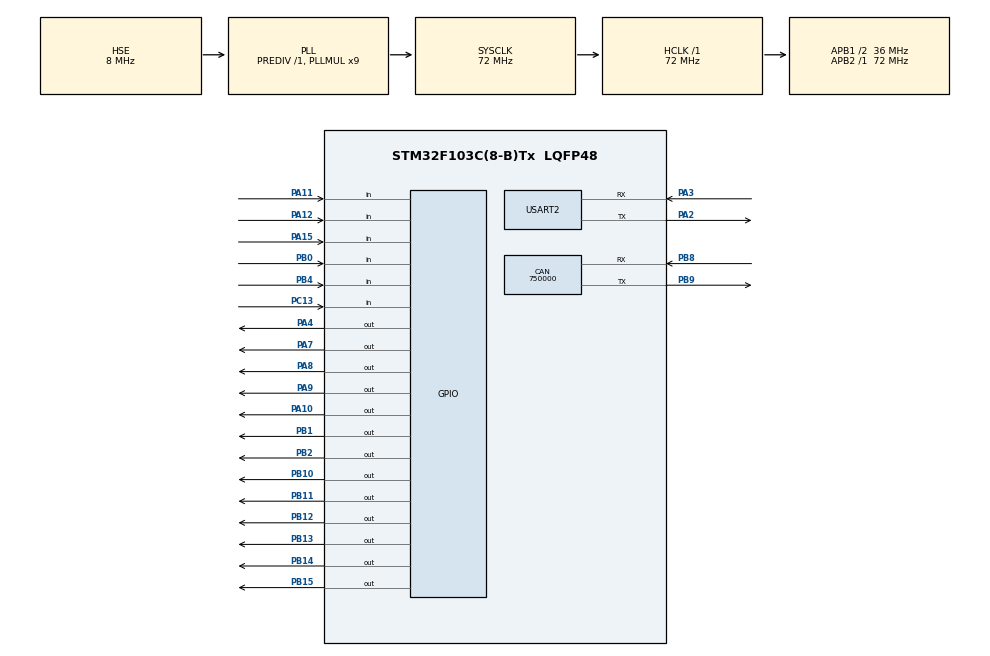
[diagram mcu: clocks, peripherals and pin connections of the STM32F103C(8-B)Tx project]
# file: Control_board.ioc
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CAN.CalculateBaudRate=750000
CAN.CalculateTimeBit=1333.33
CAN.CalculateTimeQuantum=444.44444444444446
CAN.Mode=CAN_MODE_SILENT_LOOPBACK
Dma.Request0=USART2_TX
Dma.Request1=USART2_RX
Dma.USART2_RX.1.Direction=DMA_PERIPH_TO_MEMORY
Dma.USART2_RX.1.Instance=DMA1_Channel6
Dma.USART2_RX.1.MemDataAlignment=DMA_MDATAALIGN_BYTE
Dma.USART2_RX.1.MemInc=DMA_MINC_ENABLE
Dma.USART2_RX.1.Mode=DMA_NORMAL
Dma.USART2_RX.1.PeriphDataAlignment=DMA_PDATAALIGN_BYTE
Dma.USART2_RX.1.PeriphInc=DMA_PINC_DISABLE
Dma.USART2_RX.1.Priority=DMA_PRIORITY_LOW
Dma.USART2_TX.0.Direction=DMA_MEMORY_TO_PERIPH
Dma.USART2_TX.0.Instance=DMA1_Channel7
Dma.USART2_TX.0.MemDataAlignment=DMA_MDATAALIGN_BYTE
Dma.USART2_TX.0.MemInc=DMA_MINC_ENABLE
Dma.USART2_TX.0.Mode=DMA_NORMAL
Dma.USART2_TX.0.PeriphDataAlignment=DMA_PDATAALIGN_BYTE
Dma.USART2_TX.0.PeriphInc=DMA_PINC_DISABLE
Dma.USART2_TX.0.Priority=DMA_PRIORITY_LOW
FREERTOS.BinarySemaphores01=myBinarySem01,Dynamic,NULL
FREERTOS.CountingSemaphores01=myCountingSem01,5,Dynamic,NULL
FREERTOS.INCLUDE_vTaskDelayUntil=1
FREERTOS.INCLUDE_xQueueGetMutexHolder=1
FREERTOS.INCLUDE_xSemaphoreGetMutexHolder=1
FREERTOS.Mutexes01=myMutex01,Dynamic,NULL
FREERTOS.Tasks01=defaultTask,0,128,StartDefaultTask,Default,NULL,Dynamic,NULL,NULL
FREERTOS.configTIMER_TASK_PRIORITY=3
FREERTOS.configTOTAL_HEAP_SIZE=8000
FREERTOS.configUSE_COUNTING_SEMAPHORES=1
FREERTOS.configUSE_RECURSIVE_MUTEXES=1
FREERTOS.configUSE_TIMERS=1
Mcu.Family=STM32F1
Mcu.Name=STM32F103C(8-B)Tx
Mcu.Package=LQFP48
NVIC.DMA1_Channel6_IRQn=true\:5\:0\:false\:false\:true\:true\:false\:true
NVIC.DMA1_Channel7_IRQn=true\:5\:0\:false\:false\:true\:true\:false\:true
NVIC.PriorityGroup=NVIC_PRIORITYGROUP_4
NVIC.TIM1_UP_IRQn=true\:0\:0\:false\:false\:true\:false\:false\:true
NVIC.TimeBase=TIM1_UP_IRQn
NVIC.TimeBaseIP=TIM1
NVIC.USART2_IRQn=true\:5\:0\:false\:false\:true\:true\:true\:true
PA10.Signal=GPIO_Output
PA11.Signal=GPIO_Input
PA12.Signal=GPIO_Input
PA13.Mode=Serial_Wire
PA13.Signal=SYS_JTMS-SWDIO
PA14.Mode=Serial_Wire
PA14.Signal=SYS_JTCK-SWCLK
PA15.Signal=GPIO_Input
PA2.Mode=Asynchronous
PA2.Signal=USART2_TX
PA3.Mode=Asynchronous
PA3.Signal=USART2_RX
PA4.PinState=GPIO_PIN_RESET
PA4.Signal=GPIO_Output
PA7.Signal=GPIO_Output
PA8.Signal=GPIO_Output
PA9.Signal=GPIO_Output
PB0.Signal=GPIO_Input
PB1.Signal=GPIO_Output
PB10.Signal=GPIO_Output
PB11.Signal=GPIO_Output
PB12.Signal=GPIO_Output
PB13.Signal=GPIO_Output
PB14.Signal=GPIO_Output
PB15.Signal=GPIO_Output
PB2.Signal=GPIO_Output
PB4.Signal=GPIO_Input
PB8.Mode=CAN_Activate
PB8.Signal=CAN_RX
PB9.Mode=CAN_Activate
PB9.Signal=CAN_TX
PC13-TAMPER-RTC.Signal=GPIO_Input
PC14-OSC32_IN.Mode=LSE-External-Oscillator
PC14-OSC32_IN.Signal=RCC_OSC32_IN
PC15-OSC32_OUT.Mode=LSE-External-Oscillator
PC15-OSC32_OUT.Signal=RCC_OSC32_OUT
PD0-OSC_IN.Mode=HSE-External-Oscillator
PD0-OSC_IN.Signal=RCC_OSC_IN
PD1-OSC_OUT.Mode=HSE-External-Oscillator
PD1-OSC_OUT.Signal=RCC_OSC_OUT
ProjectManager.HeapSize=0x200
ProjectManager.StackSize=0x400
ProjectManager.TargetToolchain=STM32CubeIDE
RCC.AHBFreq_Value=72000000
RCC.APB1CLKDivider=RCC_HCLK_DIV2
RCC.APB1Freq_Value=36000000
RCC.APB1TimFreq_Value=72000000
RCC.APB2Freq_Value=72000000
RCC.APB2TimFreq_Value=72000000
RCC.HCLKFreq_Value=72000000
RCC.PLLMUL=RCC_PLL_MUL9
RCC.PLLSourceVirtual=RCC_PLLSOURCE_HSE
RCC.RTCClockSelection=RCC_RTCCLKSOURCE_LSE
RCC.SYSCLKFreq_VALUE=72000000
RCC.SYSCLKSource=RCC_SYSCLKSOURCE_PLLCLK
RCC.USBFreq_Value=72000000
USART2.VirtualMode=VM_ASYNC
VP_FREERTOS_VS_CMSIS_V1.Mode=CMSIS_V1
VP_RTC_No_RTC_Output.Mode=RTC_OUT_NO
VP_RTC_VS_RTC_Activate.Mode=RTC_Enabled
VP_RTC_VS_RTC_Calendar.Mode=RTC_Calendar
VP_SYS_VS_tim1.Mode=TIM1
board=custom

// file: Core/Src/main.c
/* USER CODE BEGIN Header */
/**
  ******************************************************************************
  * @file           : main.c
  * @brief          : Main program body
  ******************************************************************************
  * @attention
  *
  * <h2><center>&copy; Copyright (c) 2021 STMicroelectronics.
  * All rights reserved.</center></h2>
  *
  * This software component is licensed by ST under Ultimate Liberty license
  * SLA0044, the "License"; You may not use this file except in compliance with
  * the License. You may obtain a copy of the License at:
  *                             www.st.com/SLA0044
  *
  ******************************************************************************
  */
/* USER CODE END Header */
#include "main.h"
#include "cmsis_os.h"

/* USER CODE BEGIN Includes */
#include "keyboard.h"
#include "display.h"
#include "wh0802.h"
#include "menu.h"
#include "wifi.h"

/* USER CODE END Includes */

CAN_HandleTypeDef hcan;

RTC_HandleTypeDef hrtc;

UART_HandleTypeDef huart2;
DMA_HandleTypeDef hdma_usart2_tx;
DMA_HandleTypeDef hdma_usart2_rx;

osThreadId defaultTaskHandle;
osMutexId myMutex01Handle;
osSemaphoreId myBinarySem01Handle;
osSemaphoreId myCountingSem01Handle;
/* USER CODE BEGIN PV */

osThreadId KeysHandle;
osThreadId DisplayHandle;
osThreadId TimeMenuHandle;
osThreadId TimeTaskHandle;
osThreadId DateTaskHandle;
osThreadId TimeDisplayTaskHandle;
osThreadId DateDisplayTaskHandle;
osThreadId WifiTaskHandle;

osTimerId DisplayTimerHandle;
osMessageQId pos_Queue;

extern osThreadId TimeMenuID;
extern uint8_t PositionState;

extern uint8_t read_buf[20];
uint8_t buf1[20];

/* USER CODE END PV */

void SystemClock_Config(void);
static void MX_GPIO_Init(void);
static void MX_DMA_Init(void);
static void MX_RTC_Init(void);
static void MX_USART2_UART_Init(void);
static void MX_CAN_Init(void);
void StartDefaultTask(void const * argument);

/* USER CODE BEGIN 0 */
void HAL_UART_TxCpltCallback(UART_HandleTypeDef *huart)
{
	//HAL_UART_Receive_DMA(&huart2, read_buf, 11);
	LED8_ON;
}
void HAL_UART_RxCpltCallback(UART_HandleTypeDef *huart)
{
	osThreadResume(WifiTaskHandle);
	//HAL_UART_Receive_DMA(&huart2, buf1, 1);

	LED8_ON;
}

/* USER CODE END 0 */

int main(void)
{

  /* MCU Configuration--------------------------------------------------------*/

  /* Reset of all peripherals, Initializes the Flash interface and the Systick. */
  HAL_Init();

  /* Configure the system clock */
  SystemClock_Config();

  /* Initialize all configured peripherals */
  MX_GPIO_Init();
  MX_DMA_Init();
  MX_RTC_Init();
  MX_USART2_UART_Init();
  MX_CAN_Init();
  /* USER CODE BEGIN 2 */

  wh0802_init(); //инициализируем дисплей

  HAL_GPIO_WritePin(GPIOA, GPIO_PIN_4, GPIO_PIN_SET);

  //HAL_UART_Receive_DMA(&huart2, read_buf, 1);
  //HAL_UART_Receive_DMA(&huart2, buf1, 1);
  //HAL_UART_RegisterCallback();

  /* USER CODE END 2 */

  /* Create the mutex(es) */
  /* definition and creation of myMutex01 */
  osMutexDef(myMutex01);
  myMutex01Handle = osMutexCreate(osMutex(myMutex01));

  /* Create the semaphores(s) */
  /* definition and creation of myBinarySem01 */
  osSemaphoreDef(myBinarySem01);
  myBinarySem01Handle = osSemaphoreCreate(osSemaphore(myBinarySem01), 1);

  /* definition and creation of myCountingSem01 */
  osSemaphoreDef(myCountingSem01);
  myCountingSem01Handle = osSemaphoreCreate(osSemaphore(myCountingSem01), 5);

  /* USER CODE BEGIN RTOS_TIMERS */
  /* start timers, add new ones, ... */
  osTimerDef(DispTimer, DisplayTimer);
  DisplayTimerHandle = osTimerCreate(osTimer(DispTimer), osTimerOnce, NULL);
  //osTimerDef(Button_timer, ButtonTimerCallback);
  //myTimer01Handle = osTimerCreate(osTimer(Button_timer), osTimerPeriodic, NULL);

  /* USER CODE END RTOS_TIMERS */

  /* USER CODE BEGIN RTOS_QUEUES */
  /* add queues, ... */
  osMessageQDef(pos_Queue, 1, uint8_t);
  pos_Queue = osMessageCreate(osMessageQ(pos_Queue), NULL);
  /* USER CODE END RTOS_QUEUES */

  /* Create the thread(s) */
  /* definition and creation of defaultTask */
  osThreadDef(defaultTask, StartDefaultTask, osPriorityNormal, 0, 128);
  defaultTaskHandle = osThreadCreate(osThread(defaultTask), NULL);

  /* USER CODE BEGIN RTOS_THREADS */
  /* add threads, ... */

  osThreadDef(Keys, Keyboard, osPriorityNormal, 0, 128);
  KeysHandle = osThreadCreate(osThread(Keys), NULL); // Создаем задачу для обработки клавиатуры

  osThreadDef(wh0802, Display, osPriorityNormal, 0, 128);
  DisplayHandle = osThreadCreate(osThread(wh0802), NULL); // Создаем задачу для обработки дисплея

  osThreadDef(TimeDisplay, TimeMenu, osPriorityNormal, 0, 128);
  TimeMenuHandle = osThreadCreate(osThread(TimeDisplay), NULL); // Создаем задачу для обработки времени на рабочем столе

  osThreadDef(time, TimeTask, osPriorityNormal, 0, 128);
  TimeTaskHandle = osThreadCreate(osThread(time), NULL); // Создаем задачу для установки времени

  osThreadDef(date, DateTask, osPriorityNormal, 0, 128);
  DateTaskHandle = osThreadCreate(osThread(date), NULL); // Создаем задачу для установки даты

  osThreadDef(time_display, TimeDisplayTask, osPriorityNormal, 0, 128);
  TimeDisplayTaskHandle = osThreadCreate(osThread(time_display), NULL); // Создаем задачу для установки даты

  osThreadDef(date_display, DateDisplayTask, osPriorityNormal, 0, 128);
  DateDisplayTaskHandle = osThreadCreate(osThread(date_display), NULL); // Создаем задачу для установки даты

  osThreadDef(wifi, WifiTask, osPriorityNormal, 0, 128);
  WifiTaskHandle = osThreadCreate(osThread(wifi), NULL); // Создаем задачу для установки даты

  /* USER CODE END RTOS_THREADS */

  /* Start scheduler */
  osKernelStart();

  /* We should never get here as control is now taken by the scheduler */
  /* Infinite loop */
  while (1)
  {

  }
}

void SystemClock_Config(void)
{
  RCC_OscInitTypeDef RCC_OscInitStruct = {0};
  RCC_ClkInitTypeDef RCC_ClkInitStruct = {0};
  RCC_PeriphCLKInitTypeDef PeriphClkInit = {0};

  /** Initializes the RCC Oscillators according to the specified parameters
  * in the RCC_OscInitTypeDef structure.
  */
  RCC_OscInitStruct.OscillatorType = RCC_OSCILLATORTYPE_HSE|RCC_OSCILLATORTYPE_LSE;
  RCC_OscInitStruct.HSEState = RCC_HSE_ON;
  RCC_OscInitStruct.HSEPredivValue = RCC_HSE_PREDIV_DIV1;
  RCC_OscInitStruct.LSEState = RCC_LSE_ON;
  RCC_OscInitStruct.HSIState = RCC_HSI_ON;
  RCC_OscInitStruct.PLL.PLLState = RCC_PLL_ON;
  RCC_OscInitStruct.PLL.PLLSource = RCC_PLLSOURCE_HSE;
  RCC_OscInitStruct.PLL.PLLMUL = RCC_PLL_MUL9;
  if (HAL_RCC_OscConfig(&RCC_OscInitStruct) != HAL_OK)
  {
    Error_Handler();
  }
  /** Initializes the CPU, AHB and APB buses clocks
  */
  RCC_ClkInitStruct.ClockType = RCC_CLOCKTYPE_HCLK|RCC_CLOCKTYPE_SYSCLK
                              |RCC_CLOCKTYPE_PCLK1|RCC_CLOCKTYPE_PCLK2;
  RCC_ClkInitStruct.SYSCLKSource = RCC_SYSCLKSOURCE_PLLCLK;
  RCC_ClkInitStruct.AHBCLKDivider = RCC_SYSCLK_DIV1;
  RCC_ClkInitStruct.APB1CLKDivider = RCC_HCLK_DIV2;
  RCC_ClkInitStruct.APB2CLKDivider = RCC_HCLK_DIV1;

  if (HAL_RCC_ClockConfig(&RCC_ClkInitStruct, FLASH_LATENCY_2) != HAL_OK)
  {
    Error_Handler();
  }
  PeriphClkInit.PeriphClockSelection = RCC_PERIPHCLK_RTC;
  PeriphClkInit.RTCClockSelection = RCC_RTCCLKSOURCE_LSE;
  if (HAL_RCCEx_PeriphCLKConfig(&PeriphClkInit) != HAL_OK)
  {
    Error_Handler();
  }
}

static void MX_CAN_Init(void)
{

  hcan.Instance = CAN1;
  hcan.Init.Prescaler = 16;
  hcan.Init.Mode = CAN_MODE_SILENT_LOOPBACK;
  hcan.Init.SyncJumpWidth = CAN_SJW_1TQ;
  hcan.Init.TimeSeg1 = CAN_BS1_1TQ;
  hcan.Init.TimeSeg2 = CAN_BS2_1TQ;
  hcan.Init.TimeTriggeredMode = DISABLE;
  hcan.Init.AutoBusOff = DISABLE;
  hcan.Init.AutoWakeUp = DISABLE;
  hcan.Init.AutoRetransmission = DISABLE;
  hcan.Init.ReceiveFifoLocked = DISABLE;
  hcan.Init.TransmitFifoPriority = DISABLE;
  if (HAL_CAN_Init(&hcan) != HAL_OK)
  {
    Error_Handler();
  }

}

static void MX_RTC_Init(void)
{

  RTC_TimeTypeDef sTime = {0};
  RTC_DateTypeDef DateToUpdate = {0};

  /** Initialize RTC Only
  */
  hrtc.Instance = RTC;
  hrtc.Init.AsynchPrediv = RTC_AUTO_1_SECOND;
  hrtc.Init.OutPut = RTC_OUTPUTSOURCE_NONE;
  if (HAL_RTC_Init(&hrtc) != HAL_OK)
  {
    Error_Handler();
  }

  /** Initialize RTC and set the Time and Date
  */
  sTime.Hours = 0x0;
  sTime.Minutes = 0x0;
  sTime.Seconds = 0x0;

  if (HAL_RTC_SetTime(&hrtc, &sTime, RTC_FORMAT_BCD) != HAL_OK)
  {
    Error_Handler();
  }
  DateToUpdate.WeekDay = RTC_WEEKDAY_MONDAY;
  DateToUpdate.Month = RTC_MONTH_JANUARY;
  DateToUpdate.Date = 0x1;
  DateToUpdate.Year = 0x0;

  if (HAL_RTC_SetDate(&hrtc, &DateToUpdate, RTC_FORMAT_BCD) != HAL_OK)
  {
    Error_Handler();
  }

}

static void MX_USART2_UART_Init(void)
{

  huart2.Instance = USART2;
  huart2.Init.BaudRate = 115200;
  huart2.Init.WordLength = UART_WORDLENGTH_8B;
  huart2.Init.StopBits = UART_STOPBITS_1;
  huart2.Init.Parity = UART_PARITY_NONE;
  huart2.Init.Mode = UART_MODE_TX_RX;
  huart2.Init.HwFlowCtl = UART_HWCONTROL_NONE;
  huart2.Init.OverSampling = UART_OVERSAMPLING_16;
  if (HAL_UART_Init(&huart2) != HAL_OK)
  {
    Error_Handler();
  }

}

static void MX_DMA_Init(void)
{

  /* DMA controller clock enable */
  __HAL_RCC_DMA1_CLK_ENABLE();

  /* DMA interrupt init */
  /* DMA1_Channel6_IRQn interrupt configuration */
  HAL_NVIC_SetPriority(DMA1_Channel6_IRQn, 5, 0);
  HAL_NVIC_EnableIRQ(DMA1_Channel6_IRQn);
  /* DMA1_Channel7_IRQn interrupt configuration */
  HAL_NVIC_SetPriority(DMA1_Channel7_IRQn, 5, 0);
  HAL_NVIC_EnableIRQ(DMA1_Channel7_IRQn);

}

static void MX_GPIO_Init(void)
{
  GPIO_InitTypeDef GPIO_InitStruct = {0};

  /* GPIO Ports Clock Enable */
  __HAL_RCC_GPIOC_CLK_ENABLE();
  __HAL_RCC_GPIOD_CLK_ENABLE();
  __HAL_RCC_GPIOA_CLK_ENABLE();
  __HAL_RCC_GPIOB_CLK_ENABLE();

  /*Configure GPIO pin Output Level */
  HAL_GPIO_WritePin(GPIOA, GPIO_PIN_4|GPIO_PIN_7|GPIO_PIN_8|GPIO_PIN_9
                          |GPIO_PIN_10, GPIO_PIN_RESET);

  /*Configure GPIO pin Output Level */
  HAL_GPIO_WritePin(GPIOB, GPIO_PIN_1|GPIO_PIN_2|GPIO_PIN_10|GPIO_PIN_11
                          |GPIO_PIN_12|GPIO_PIN_13|GPIO_PIN_14|GPIO_PIN_15, GPIO_PIN_RESET);

  /*Configure GPIO pin : PC13 */
  GPIO_InitStruct.Pin = GPIO_PIN_13;
  GPIO_InitStruct.Mode = GPIO_MODE_INPUT;
  GPIO_InitStruct.Pull = GPIO_NOPULL;
  HAL_GPIO_Init(GPIOC, &GPIO_InitStruct);

  /*Configure GPIO pins : PA4 PA7 PA8 PA9
                           PA10 */
  GPIO_InitStruct.Pin = GPIO_PIN_4|GPIO_PIN_7|GPIO_PIN_8|GPIO_PIN_9
                          |GPIO_PIN_10;
  GPIO_InitStruct.Mode = GPIO_MODE_OUTPUT_PP;
  GPIO_InitStruct.Pull = GPIO_NOPULL;
  GPIO_InitStruct.Speed = GPIO_SPEED_FREQ_LOW;
  HAL_GPIO_Init(GPIOA, &GPIO_InitStruct);

  /*Configure GPIO pins : PB0 PB4 */
  GPIO_InitStruct.Pin = GPIO_PIN_0|GPIO_PIN_4;
  GPIO_InitStruct.Mode = GPIO_MODE_INPUT;
  GPIO_InitStruct.Pull = GPIO_NOPULL;
  HAL_GPIO_Init(GPIOB, &GPIO_InitStruct);

  /*Configure GPIO pins : PB1 PB2 PB10 PB11
                           PB12 PB13 PB14 PB15 */
  GPIO_InitStruct.Pin = GPIO_PIN_1|GPIO_PIN_2|GPIO_PIN_10|GPIO_PIN_11
                          |GPIO_PIN_12|GPIO_PIN_13|GPIO_PIN_14|GPIO_PIN_15;
  GPIO_InitStruct.Mode = GPIO_MODE_OUTPUT_PP;
  GPIO_InitStruct.Pull = GPIO_NOPULL;
  GPIO_InitStruct.Speed = GPIO_SPEED_FREQ_LOW;
  HAL_GPIO_Init(GPIOB, &GPIO_InitStruct);

  /*Configure GPIO pins : PA11 PA12 PA15 */
  GPIO_InitStruct.Pin = GPIO_PIN_11|GPIO_PIN_12|GPIO_PIN_15;
  GPIO_InitStruct.Mode = GPIO_MODE_INPUT;
  GPIO_InitStruct.Pull = GPIO_NOPULL;
  HAL_GPIO_Init(GPIOA, &GPIO_InitStruct);

}

void StartDefaultTask(void const * argument)
{
  for(;;)
  {
    osDelay(1);
  }
}

 /**
  * @brief  Period elapsed callback in non blocking mode
  * @note   This function is called  when TIM1 interrupt took place, inside
  * HAL_TIM_IRQHandler(). It makes a direct call to HAL_IncTick() to increment
  * a global variable "uwTick" used as application time base.
  * @param  htim : TIM handle
  * @retval None
  */
void HAL_TIM_PeriodElapsedCallback(TIM_HandleTypeDef *htim)
{
  if (htim->Instance == TIM1) {
    HAL_IncTick();
  }
}

void Error_Handler(void)
{
  __disable_irq();
  while (1)
  {
  }
}

/************************ (C) COPYRIGHT STMicroelectronics *****END OF FILE****/
